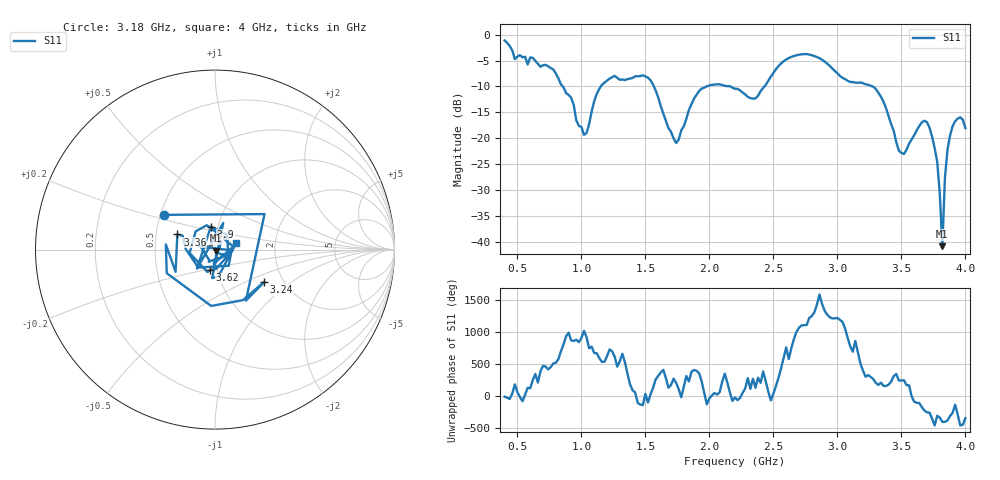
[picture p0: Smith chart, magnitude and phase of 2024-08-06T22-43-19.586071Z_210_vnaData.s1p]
!Created with skrf (http://scikit-rf.org).
# Hz S RI R 50.0
!freq ReS11 ImS11
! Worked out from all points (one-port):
!   181 points, 400 MHz to 4 GHz, reference 50 ohm
!   lowest |S11| = -40.8 dB at 3.82 GHz (marker M1), VSWR 1.02, Z = 50.7 - j0.586 ohm
!   |S11| at or under -10 dB: 854.5 MHz to 1.152 GHz (297.4 MHz wide, 29.6 % of centre); 1.567 GHz to 1.977 GHz (410 MHz wide, 23.1 % of centre); 3.276 GHz to end of sweep (the widest 3 of 4)
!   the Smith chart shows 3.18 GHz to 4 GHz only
!   S11 on the Smith chart (normalised r, x): 3.18 GHz: 0.52, +0.23; 3.24 GHz: 1.60, -0.64; 3.36 GHz: 0.65, +0.11; 3.62 GHz: 0.92, -0.22; 3.9 GHz: 0.93, +0.24; 4 GHz: 1.27, +0.10
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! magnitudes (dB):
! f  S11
! 400 MHz  -1.1
! 480 MHz  -4.7
! 740 MHz  -6.1
! 860 MHz  -10.2
! 1.02 GHz  -19.3
! 1.16 GHz  -9.7
! 1.3 GHz  -8.7
! 1.54 GHz  -8.8
! 1.76 GHz  -20.2
! 1.92 GHz  -10.9
! 2.2 GHz  -10.4
! 2.36 GHz  -12.3
! 2.66 GHz  -4.1
! 3.1 GHz  -9.1
! 3.18 GHz  -9.2
! 3.24 GHz  -9.7
! 3.36 GHz  -12.9
! 3.48 GHz  -22.4
! 3.56 GHz  -21.0
! 3.62 GHz  -18.5
! 3.7 GHz  -16.9
! 3.76 GHz  -21.9
! 3.8 GHz  -30.7
! 3.82 GHz  -40.8
! 3.84 GHz  -27.7
! 3.86 GHz  -22.2
! 3.9 GHz  -17.7
! 4 GHz  -18.0
